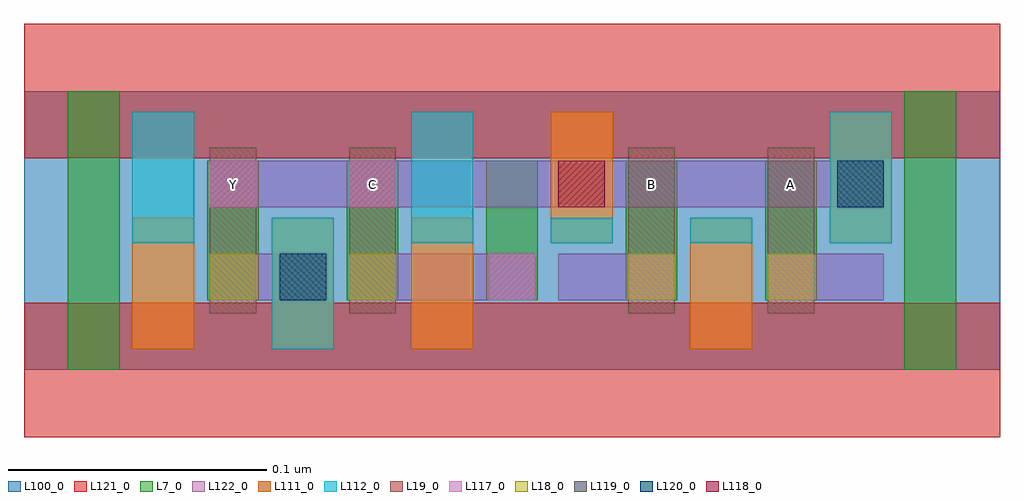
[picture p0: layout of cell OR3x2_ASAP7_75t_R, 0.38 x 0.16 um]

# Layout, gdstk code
import gdstk
lib = gdstk.Library(unit=1e-6, precision=2.5e-10)
def R(c, l, rs):  # rectangles x0, y0, x1, y1
    for r in rs: c.add(gdstk.rectangle(r[:2], r[2:], *l))
def A(c, l, x, y, w, h, nx, ny, dx, dy):  # array of equal rectangles
    R(c, l, [(x+i*dx, y+j*dy, x+i*dx+w, y+j*dy+h) for i in range(nx) for j in range(ny)])
L7_0 = (7, 0)
L18_0 = (18, 0)
L19_0 = (19, 0)
L100_0 = (100, 0)
L111_0 = (111, 0)
L112_0 = (112, 0)
L117_0 = (117, 0)
L118_0 = (118, 0)
L119_0 = (119, 0)
L120_0 = (120, 0)
L121_0 = (121, 0)
L122_0 = (122, 0)

or3x2_asap7_75t_r = lib.new_cell('OR3x2_ASAP7_75t_R')
A(or3x2_asap7_75t_r, L7_0, 0.071, 0.027, 0.02, 0.054, 5, 1, 0.054, 0)
R(or3x2_asap7_75t_r, L7_0, [(0.017,0,0.037,0.108), (0.341,0,0.361,0.108)])
R(or3x2_asap7_75t_r, L18_0, [(0.072,0.027,0.09,0.045), (0.126,0.027,0.144,0.045), (0.234,0.027,0.252,0.045), (0.288,0.027,0.306,0.045)])
R(or3x2_asap7_75t_r, L19_0, [(0.072,0.022,0.09,0.086), (0.126,0.022,0.144,0.086), (0.234,0.022,0.252,0.086), (0.288,0.022,0.306,0.086)])
R(or3x2_asap7_75t_r, L100_0, [(0,0,0.378,0.108)])
A(or3x2_asap7_75t_r, L111_0, 0.042, 0.008, 0.024, 0.051, 3, 1, 0.054, 0)
R(or3x2_asap7_75t_r, L111_0, [(0.258,0.008,0.282,0.059), (0.204,0.049,0.228,0.1), (0.312,0.049,0.336,0.1)])
R(or3x2_asap7_75t_r, L112_0, [(0.096,0.008,0.12,0.059), (0.042,0.049,0.066,0.1), (0.15,0.049,0.174,0.1), (0.204,0.049,0.228,0.059), (0.258,0.049,0.282,0.059), (0.312,0.049,0.336,0.1)])
A(or3x2_asap7_75t_r, L117_0, 0.18, 0.027, 0.018, 0.018, 3, 1, 0.054, 0)
R(or3x2_asap7_75t_r, L117_0, [(0.072,0.063,0.09,0.081), (0.126,0.063,0.144,0.081)])
R(or3x2_asap7_75t_r, L118_0, [(0.207,0.063,0.225,0.081)])
R(or3x2_asap7_75t_r, L119_0, [(0.099,0.027,0.117,0.045), (0.315,0.063,0.333,0.081)])
R(or3x2_asap7_75t_r, L120_0, [(0.099,0.027,0.117,0.045), (0.315,0.063,0.333,0.081)])
R(or3x2_asap7_75t_r, L121_0, [(0,-0.026,0.378,0.026), (0,0.082,0.378,0.134)])
R(or3x2_asap7_75t_r, L122_0, [(0.072,0.027,0.117,0.045), (0.126,0.027,0.198,0.045), (0.207,0.027,0.252,0.045), (0.288,0.027,0.333,0.045), (0.072,0.063,0.333,0.081)])
or3x2_asap7_75t_r.add(gdstk.Label('Y', (0.081,0.072), layer=19, texttype=251))
or3x2_asap7_75t_r.add(gdstk.Label('C', (0.135,0.072), layer=19, texttype=251))
or3x2_asap7_75t_r.add(gdstk.Label('B', (0.243,0.072), layer=19, texttype=251))
or3x2_asap7_75t_r.add(gdstk.Label('A', (0.297,0.072), layer=19, texttype=251))

lib.write_gds('OR3x2_ASAP7_75t_R.gds')
